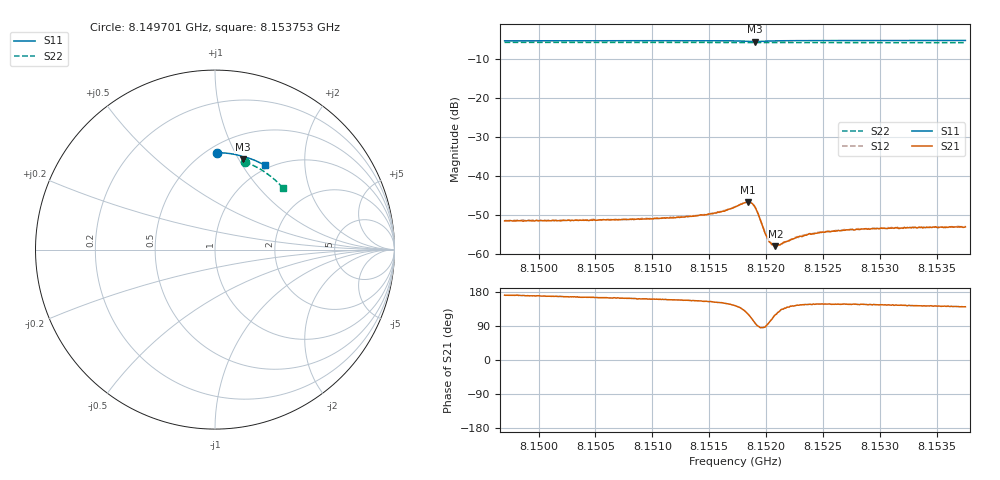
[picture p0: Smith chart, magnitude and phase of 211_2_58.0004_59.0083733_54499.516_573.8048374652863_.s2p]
#  HZ  S  RI  R  50.00
! Rohde & Schwarz Vector Network Analyzer
! Rohde-Schwarz,ZNB20-2Port,1311601062101988,3.16
! Created: UTC 3/21/2024, 12:59:45 AM
! freq[Hz]  re:S11  im:S11  re:S21  im:S21  re:S12  im:S12  re:S22  im:S22
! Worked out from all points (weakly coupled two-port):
!   401 points, 8.149701 GHz to 8.153753 GHz, reference 50 ohm
!   highest |S21| = -46.76 dB at 8.151838 GHz (marker M1); lowest = -58.1 dB at 8.152081 GHz (marker M2)
!   lowest |S11| = -5.6 dB at 8.151899 GHz (marker M3), VSWR 3.23, Z = 37.3 + j52 ohm
!   |S11| at or under -10 dB: nowhere
!   |S22| runs from -5.8 to -5.7 dB; largest |S21 - S12| = 0.00013
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8.1497012e9  0.0096 0.5395  -0.00261 0.000405  -0.00261 0.000456  0.1675 0.488
8.1503798e9  0.0572 0.5377  -0.00259 0.000676  -0.0026 0.000719  0.2082 0.4713
8.1510584e9  0.1046 0.5314  -0.00265 0.000972  -0.00271 0.000991  0.2471 0.4512
8.1514636e9  0.1336 0.5251  -0.00286 0.00135  -0.00287 0.00138  0.2694 0.4376
8.1516155e9  0.1452 0.5214  -0.00306 0.0017  -0.00305 0.00178  0.2775 0.4323
8.1517269e9  0.154 0.5168  -0.0032 0.00237  -0.00319 0.00242  0.2835 0.4281
8.1518383e9  0.1595 0.507  -0.00244 0.00389  -0.0024 0.00391  0.289 0.4238
8.1518687e9  0.1579 0.5042  -0.00164 0.00419  -0.00157 0.00421  0.2904 0.4224
8.1518991e9  0.155 0.5037  -0.000633 0.004  -0.000553 0.00404  0.2918 0.4215
8.1519295e9  0.1531 0.506  3.75e-05 0.00328  8.77e-05 0.0033  0.2934 0.4204
8.1519801e9  0.1549 0.5107  0.000147 0.00204  0.000182 0.00207  0.296 0.4187
8.1520105e9  0.1575 0.5125  -9.88e-05 0.00159  -6.88e-05 0.00163  0.2977 0.4176
8.1520308e9  0.1595 0.5132  -0.000256 0.00138  -0.000233 0.0014  0.2989 0.4171
8.152051e9  0.1614 0.5138  -0.000396 0.00125  -0.000389 0.00125  0.2999 0.4162
8.1520814e9  0.1642 0.5139  -0.000615 0.00109  -0.000629 0.00113  0.3015 0.415
8.1521219e9  0.1679 0.5139  -0.000825 0.000994  -0.000816 0.00102  0.3035 0.4135
8.1522738e9  0.1802 0.5118  -0.00133 0.000937  -0.00136 0.00096  0.3112 0.4075
8.1524055e9  0.1898 0.5091  -0.00149 0.000993  -0.00153 0.000982  0.3177 0.4022
8.1524865e9  0.1955 0.5071  -0.00159 0.000999  -0.00158 0.00105  0.3218 0.3989
8.1527296e9  0.212 0.5012  -0.0017 0.0011  -0.0017 0.00115  0.3336 0.3887
8.1530841e9  0.235 0.4914  -0.00174 0.00122  -0.00173 0.00122  0.3502 0.373
8.1537526e9  0.2766 0.4706  -0.00171 0.00141  -0.00172 0.00147  0.3792 0.3424
